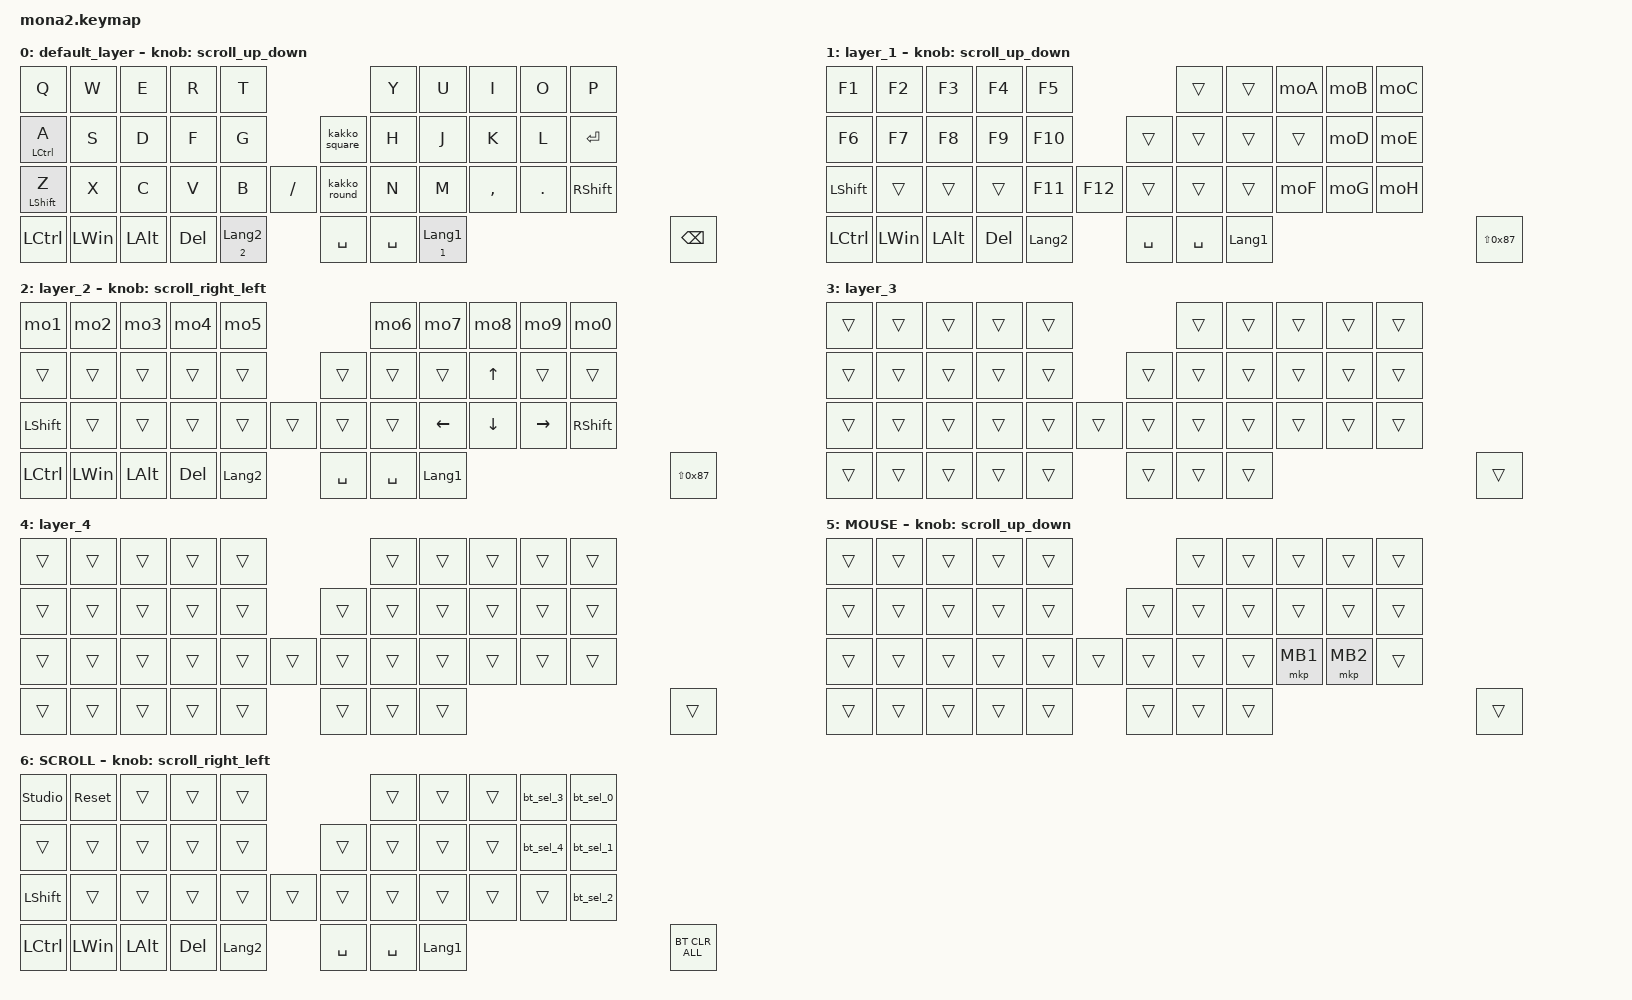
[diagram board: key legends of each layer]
#include <input/processors.dtsi>
#include <dt-bindings/zmk/input_transform.h>
#include <zephyr/dt-bindings/input/input-event-codes.h>
#include <behaviors.dtsi>
#include <dt-bindings/zmk/bt.h>
#include <dt-bindings/zmk/keys.h>
#include <dt-bindings/zmk/pointing.h>

#define ZMK_POINTING_DEFAULT_SCRL_VAL 100
#define MOUSE 5
#define SCROLL 6
#define JP_DQUOTE       AT                // "
#define JP_AMPERSAND    CARET             // &
#define JP_QUOTE        AMPERSAND         // '
#define JP_EQUAL        UNDER             // =
#define JP_CARET        EQUAL             // ^
#define JP_YEN          0x89              // ¥
#define JP_PLUS         COLON             // +
#define JP_TILDE        PLUS              // ~
#define JP_PIPE         LS(0x89)          // |
#define JP_AT           LEFT_BRACKET      // @
#define JP_COLON        SINGLE_QUOTE      // :
#define JP_ASTERISK     DOUBLE_QUOTES     // *
#define JP_BACKQUOTE    LEFT_BRACE        // `
#define JP_UNDERSCORE   LS(0x87)          // _
#define JP_LBRACKET     RIGHT_BRACKET     // [
#define JP_RBRACKET     BACKSLASH         // ]
#define JP_LPAREN       ASTERISK          // (
#define JP_RPAREN       LEFT_PARENTHESIS  // )
#define JP_LBRACE       RIGHT_BRACE       // {
#define JP_RBRACE       PIPE              // }
#define JP_KANA         LANGUAGE_1        // かな
#define JP_EISU         LANGUAGE_2        // 英数
#define JP_HANZEN       GRAVE             // 半角/全角
#define JP_BSLH         INT1              // (backslash)

&mt {
    flavor = "balanced";
    quick-tap-ms = <175>;
};

&lt {
    quick-tap-ms = <300>;
    flavor = "balanced";
};

/ {
    combos {
        compatible = "zmk,combos";

        Escape {
            bindings = <&kp ESCAPE>;
            key-positions = <39 38>;
        };

        tab {
            bindings = <&kp TAB>;
            key-positions = <11 10>;
        };

        // 数字キー（左手）

        Num1 {
            bindings = <&num1_reset>;
            key-positions = <0 1>;  // Q+W
        };

        Num2 {
            bindings = <&num2_reset>;
            key-positions = <1 2>;  // W+E
        };

        Num3 {
            bindings = <&num3_reset>;
            key-positions = <2 3>;  // E+R
        };

        Num4 {
            bindings = <&num4_reset>;
            key-positions = <3 4>;  // R+T
        };

        Num5 {
            bindings = <&num5_reset>;
            key-positions = <13 14>;  // F+G
        };

        // 数字キー（右手）

        Num6 {
            bindings = <&num6_reset>;
            key-positions = <5 6>;  // Y+U
        };

        Num7 {
            bindings = <&num7_reset>;
            key-positions = <6 7>;  // U+I
        };

        Num8 {
            bindings = <&num8_reset>;
            key-positions = <7 8>;  // I+O
        };

        Num9 {
            bindings = <&num9_reset>;
            key-positions = <8 9>;  // O+P
        };

        Num0 {
            bindings = <&num0_reset>;
            key-positions = <19 20>;  // L+Enter
        };

        Layer_6 {
            bindings = <&mo 6>;
            key-positions = <21 22>;  // Z+X
        };

        PrtScr {
            bindings = <&kp PRINTSCREEN>;
            key-positions = <0 9>;
        };
    };

    macros {
        to_layer_0: to_layer_0 {
            compatible = "zmk,behavior-macro-one-param";
            #binding-cells = <1>;
            bindings = <&to 0 &macro_param_1to1 &kp MACRO_PLACEHOLDER>;
            label = "TO_LAYER_0";
        };

        // 英数/かなキーをホールドして layer_2/layer_1 に入る瞬間に一回だけ
        // MOUSE レイヤー(5)を強制解除する。以降の連続数字入力は
        // このマクロを再実行しないので壊さない。
        mo_cancel_mouse: mo_cancel_mouse {
            compatible = "zmk,behavior-macro-one-param";
            #binding-cells = <1>;
            bindings =
                <&macro_press &to 0>,
                <&macro_param_1to1 &macro_press &mo MACRO_PLACEHOLDER>,
                <&macro_pause_for_release>,
                <&macro_param_1to1 &macro_release &mo MACRO_PLACEHOLDER>;
            label = "MO_CANCEL_MOUSE";
        };

        // 数字コンボ (mo1-mo9, mo0) はコンボ経由のため AML の
        // 「他キー押下で自動解除」の対象外になる。&to 0 を明示的に挟んで
        // MOUSE レイヤーを確実に解除してから数字/記号を出力する。
        num1_reset: num1_reset {
            compatible = "zmk,behavior-macro";
            #binding-cells = <0>;
            bindings = <&to 0 &mo1>;
            label = "NUM1_RESET";
        };

        num2_reset: num2_reset {
            compatible = "zmk,behavior-macro";
            #binding-cells = <0>;
            bindings = <&to 0 &mo2>;
            label = "NUM2_RESET";
        };

        num3_reset: num3_reset {
            compatible = "zmk,behavior-macro";
            #binding-cells = <0>;
            bindings = <&to 0 &mo3>;
            label = "NUM3_RESET";
        };

        num4_reset: num4_reset {
            compatible = "zmk,behavior-macro";
            #binding-cells = <0>;
            bindings = <&to 0 &mo4>;
            label = "NUM4_RESET";
        };

        num5_reset: num5_reset {
            compatible = "zmk,behavior-macro";
            #binding-cells = <0>;
            bindings = <&to 0 &mo5>;
            label = "NUM5_RESET";
        };

        num6_reset: num6_reset {
            compatible = "zmk,behavior-macro";
            #binding-cells = <0>;
            bindings = <&to 0 &mo6>;
            label = "NUM6_RESET";
        };

        num7_reset: num7_reset {
            compatible = "zmk,behavior-macro";
            #binding-cells = <0>;
            bindings = <&to 0 &mo7>;
            label = "NUM7_RESET";
        };

        num8_reset: num8_reset {
            compatible = "zmk,behavior-macro";
            #binding-cells = <0>;
            bindings = <&to 0 &mo8>;
            label = "NUM8_RESET";
        };

        num9_reset: num9_reset {
            compatible = "zmk,behavior-macro";
            #binding-cells = <0>;
            bindings = <&to 0 &mo9>;
            label = "NUM9_RESET";
        };

        num0_reset: num0_reset {
            compatible = "zmk,behavior-macro";
            #binding-cells = <0>;
            bindings = <&to 0 &mo0>;
            label = "NUM0_RESET";
        };

        bt_sel_0: bt_sel_0 {
            compatible = "zmk,behavior-macro";
            #binding-cells = <0>;
            bindings = <&bt BT_SEL 0 &bt BT_DISC 1 &bt BT_DISC 2 &bt BT_DISC 3 &bt BT_DISC 4>;
            label = "BT_SEL_0";
        };

        bt_sel_1: bt_sel_1 {
            compatible = "zmk,behavior-macro";
            #binding-cells = <0>;
            bindings = <&bt BT_SEL 1 &bt BT_DISC 0 &bt BT_DISC 2 &bt BT_DISC 3 &bt BT_DISC 4>;
            label = "BT_SEL_1";
        };

        bt_sel_2: bt_sel_2 {
            compatible = "zmk,behavior-macro";
            #binding-cells = <0>;
            bindings = <&bt BT_SEL 2 &bt BT_DISC 0 &bt BT_DISC 1 &bt BT_DISC 3 &bt BT_DISC 4>;
            label = "BT_SEL_2";
        };

        bt_sel_3: bt_sel_3 {
            compatible = "zmk,behavior-macro";
            #binding-cells = <0>;
            bindings = <&bt BT_SEL 3 &bt BT_DISC 0 &bt BT_DISC 1 &bt BT_DISC 2 &bt BT_DISC 4>;
            label = "BT_SEL_3";
        };

        bt_sel_4: bt_sel_4 {
            compatible = "zmk,behavior-macro";
            #binding-cells = <0>;
            bindings = <&bt BT_SEL 4 &bt BT_DISC 0 &bt BT_DISC 1 &bt BT_DISC 2 &bt BT_DISC 3>;
            label = "BT_SEL_4";
        };

        kakko_round: kakko_round {
            compatible = "zmk,behavior-macro";
            #binding-cells = <0>;
            bindings = <&kp LS(N8) &kp LS(N9) &kp LEFT_ARROW>;
            label = "KAKKO_ROUND";
        };

        kakko_square: kakko_square {
            compatible = "zmk,behavior-macro";
            #binding-cells = <0>;
            bindings = <&kp JP_LBRACKET &kp JP_RBRACKET &kp LEFT_ARROW>;
            label = "KAKKO_SQUARE";
        };
    };

    behaviors {
        ctrl_a: ctrl_a {
            compatible = "zmk,behavior-hold-tap";
            label = "CTRL_A";
            #binding-cells = <2>;
            tapping-term-ms = <250>;
            quick-tap-ms = <200>;
            flavor = "tap-preferred";
            bindings = <&kp>, <&kp>;
        };

        lt_to_layer_0: lt_to_layer_0 {
            compatible = "zmk,behavior-hold-tap";
            label = "LAYER_TAP_TO_0";
            bindings = <&mo>, <&to_layer_0>;

            #binding-cells = <2>;
            tapping-term-ms = <200>;
        };

        // 英数/かなキー用: ホールドで layer_2/layer_1 に入る際に MOUSE レイヤーを
        // 自動解除してから入る。タップは従来通り to_layer_0 でリセット。
        lt_cancel_mouse: lt_cancel_mouse {
            compatible = "zmk,behavior-hold-tap";
            label = "LAYER_TAP_CANCEL_MOUSE";
            bindings = <&mo_cancel_mouse>, <&to_layer_0>;

            #binding-cells = <2>;
            tapping-term-ms = <200>;
        };

        scroll_up_down: mouse_wheel_up_down {
            compatible = "zmk,behavior-sensor-rotate";
            #sensor-binding-cells = <0>;
            bindings = <&msc SCRL_UP>, <&msc SCRL_DOWN>;

            tap-ms = <20>;
        };

        scroll_right_left: mouse_wheel_right_left {
            compatible = "zmk,behavior-sensor-rotate";
            #sensor-binding-cells = <0>;
            bindings = <&msc SCRL_LEFT>, <&msc SCRL_RIGHT>;

            tap-ms = <20>;
        };

        mo1: mo1 {
            compatible = "zmk,behavior-mod-morph";
            #binding-cells = <0>;
            bindings = <&kp NUMBER_1>, <&kp EXCLAMATION>;

            mods = <(MOD_LSFT|MOD_RSFT)>;
        };

        mo2: mo2 {
            compatible = "zmk,behavior-mod-morph";
            #binding-cells = <0>;
            bindings = <&kp NUMBER_2>, <&kp AT>;

            mods = <(MOD_LSFT|MOD_RSFT)>;
        };

        mo3: mo3 {
            compatible = "zmk,behavior-mod-morph";
            #binding-cells = <0>;
            bindings = <&kp NUMBER_3>, <&kp POUND>;

            mods = <(MOD_LSFT|MOD_RSFT)>;
        };

        mo4: mo4 {
            compatible = "zmk,behavior-mod-morph";
            #binding-cells = <0>;
            bindings = <&kp NUMBER_4>, <&kp DOLLAR>;

            mods = <(MOD_LSFT|MOD_RSFT)>;
        };

        mo5: mo5 {
            compatible = "zmk,behavior-mod-morph";
            #binding-cells = <0>;
            bindings = <&kp NUMBER_5>, <&kp PERCENT>;

            mods = <(MOD_LSFT|MOD_RSFT)>;
        };

        mo6: mo6 {
            compatible = "zmk,behavior-mod-morph";
            #binding-cells = <0>;
            bindings = <&kp NUMBER_6>, <&kp CARET>;

            mods = <(MOD_LSFT|MOD_RSFT)>;
        };

        mo7: mo7 {
            compatible = "zmk,behavior-mod-morph";
            #binding-cells = <0>;
            bindings = <&kp NUMBER_7>, <&kp AMPERSAND>;

            mods = <(MOD_LSFT|MOD_RSFT)>;
        };

        mo8: mo8 {
            compatible = "zmk,behavior-mod-morph";
            #binding-cells = <0>;
            bindings = <&kp NUMBER_8>, <&kp ASTERISK>;

            mods = <(MOD_LSFT|MOD_RSFT)>;
        };

        mo9: mo9 {
            compatible = "zmk,behavior-mod-morph";
            #binding-cells = <0>;
            bindings = <&kp NUMBER_9>, <&kp LEFT_PARENTHESIS>;

            mods = <(MOD_LSFT|MOD_RSFT)>;
        };

        mo0: mo0 {
            compatible = "zmk,behavior-mod-morph";
            #binding-cells = <0>;
            bindings = <&kp NUMBER_0>, <&kp LS(NUMBER_9)>;

            mods = <(MOD_LSFT|MOD_RSFT)>;
        };

        moA: moA {
            compatible = "zmk,behavior-mod-morph";
            #binding-cells = <0>;
            bindings = <&kp MINUS>, <&kp UNDERSCORE>;

            mods = <(MOD_LSFT|MOD_RSFT)>;
        };

        moB: moB {
            compatible = "zmk,behavior-mod-morph";
            #binding-cells = <0>;
            bindings = <&kp EQUAL>, <&kp PLUS>;

            mods = <(MOD_LSFT|MOD_RSFT)>;
        };

        moC: moC {
            compatible = "zmk,behavior-mod-morph";
            #binding-cells = <0>;
            bindings = <&kp INT3>, <&kp JP_PIPE>;

            mods = <(MOD_LSFT|MOD_RSFT)>;
        };

        moD: moD {
            compatible = "zmk,behavior-mod-morph";
            #binding-cells = <0>;
            bindings = <&kp LEFT_BRACKET>, <&kp LEFT_BRACE>;

            mods = <(MOD_LSFT|MOD_RSFT)>;
        };

        moE: moE {
            compatible = "zmk,behavior-mod-morph";
            #binding-cells = <0>;
            bindings = <&kp RIGHT_BRACKET>, <&kp RIGHT_BRACE>;

            mods = <(MOD_LSFT|MOD_RSFT)>;
        };

        moF: moF {
            compatible = "zmk,behavior-mod-morph";
            #binding-cells = <0>;
            bindings = <&kp SEMICOLON>, <&kp JP_PLUS>;

            mods = <(MOD_LSFT|MOD_RSFT)>;
        };

        moG: moG {
            compatible = "zmk,behavior-mod-morph";
            #binding-cells = <0>;
            bindings = <&kp APOSTROPHE>, <&kp DOUBLE_QUOTES>;

            mods = <(MOD_LSFT|MOD_RSFT)>;
        };

        moH: moH {
            compatible = "zmk,behavior-mod-morph";
            #binding-cells = <0>;
            bindings = <&kp BACKSLASH>, <&kp TILDE>;

            mods = <(MOD_LSFT|MOD_RSFT)>;
        };
    };

    keymap {
        compatible = "zmk,keymap";

        default_layer {
            // -----------------------------------------------------------------------------------
            // |  Q  |  W  |  E  |  R  |  T  |                      |  Y  |  U  |  I  |  O  |  P  |
            // |A/CTL|  S  |  D  |  F  |  G  |                | ,/< |  H  |  J  |  K  |  L  | ENT |
            // |Z/SFT|  X  |  C  |  V  |  B  | //? |          | ./> |  N  |  M  | MB1 | MB2 | SFT |
            // | CTRL| WIN | ALT | DEL |英数L2|SPACE|          |SPACE|かなL1|                | BKS |

            bindings = <
&kp Q             &kp W         &kp E         &kp R       &kp T                                      &kp Y          &kp U  &kp I       &kp O      &kp P
&ctrl_a LCTRL A   &kp S         &kp D         &kp F       &kp G                       &kakko_square  &kp H          &kp J  &kp K       &kp L      &kp ENTER
&mt LEFT_SHIFT Z  &kp X         &kp C         &kp V       &kp B          &kp SLASH    &kakko_round   &kp N          &kp M  &kp COMMA   &kp PERIOD  &kp RIGHT_SHIFT
&kp LCTRL         &kp LEFT_WIN  &kp LEFT_ALT  &kp DELETE  &lt_cancel_mouse 2 JP_EISU  &kp SPACE    &kp SPACE      &lt_cancel_mouse 1 JP_KANA                                &kp BACKSPACE
            >;

            sensor-bindings = <&scroll_up_down>;
        };

        layer_1 {
            // -----------------------------------------------------------------------------------
            // | F1  | F2  | F3  | F4  | F5  |                      |trans|trans| -/_ | =/+ |¥/| |
            // | F6  | F7  | F8  | F9  | F10 |                |trans|trans|trans|trans| @/` | [/{ |
            // |SHIFT|trans|trans|trans| F11 | F12 |          |trans|trans|trans| ;/+ | :/' | ]/} |
            // | CTRL| WIN | ALT | DEL | 英数 |SPACE|          |SPACE| かな |                |  _  |

            bindings = <
&kp F1          &kp F2        &kp F3        &kp F4      &kp F5                               &trans       &trans  &moA    &moB  &moC
&kp F6          &kp F7        &kp F8        &kp F9      &kp F10                   &trans     &trans       &trans  &trans  &moD  &moE
&kp LEFT_SHIFT  &trans        &trans        &trans      &kp F11      &kp F12      &trans     &trans       &trans  &moF    &moG  &moH
&kp LCTRL       &kp LEFT_WIN  &kp LEFT_ALT  &kp DELETE  &kp JP_EISU  &kp SPACE    &kp SPACE  &kp JP_KANA                        &kp JP_UNDERSCORE
            >;

            sensor-bindings = <&scroll_up_down>;
        };

        layer_2 {
            // -----------------------------------------------------------------------------------
            // | 1/! | 2/" | 3/# | 4/$ | 5/% |                      | 6/& | 7/' | 8/( | 9/) | 0/) |
            // |trans|trans|trans|trans|trans|                |trans|trans|trans|  ↑  |trans|trans|
            // |SHIFT|trans|trans|trans|trans|trans|          |trans|trans|  ←  |  ↓  |  →  |SHIFT|
            // | CTRL| WIN | ALT | DEL | 英数 |SPACE|          |SPACE| かな |                |  _  |

            bindings = <
&mo1            &mo2          &mo3          &mo4        &mo5                                 &mo6         &mo7            &mo8            &mo9             &mo0
&trans          &trans        &trans        &trans      &trans                    &trans     &trans       &trans          &kp UP_ARROW    &trans           &trans
&kp LEFT_SHIFT  &trans        &trans        &trans      &trans       &trans       &trans     &trans       &kp LEFT_ARROW  &kp DOWN_ARROW  &kp RIGHT_ARROW  &kp RIGHT_SHIFT
&kp LCTRL       &kp LEFT_WIN  &kp LEFT_ALT  &kp DELETE  &kp JP_EISU  &kp SPACE    &kp SPACE  &kp JP_KANA                                                   &kp JP_UNDERSCORE
            >;

            sensor-bindings = <&scroll_right_left>;
        };

        layer_3 {
            // -----------------------------------------------------------------------------------
            // |trans|trans|trans|trans|trans|                      |trans|trans|trans|trans|trans|
            // |trans|trans|trans|trans|trans|                |trans|trans|trans|trans|trans|trans|
            // |trans|trans|trans|trans|trans|trans|          |trans|trans|trans|trans|trans|trans|
            // |trans|trans|trans|trans|trans|trans|          |trans|trans|                |trans|

            bindings = <
&trans  &trans  &trans  &trans  &trans                    &trans  &trans  &trans  &trans  &trans
&trans  &trans  &trans  &trans  &trans            &trans  &trans  &trans  &trans  &trans  &trans
&trans  &trans  &trans  &trans  &trans  &trans    &trans  &trans  &trans  &trans  &trans  &trans
&trans  &trans  &trans  &trans  &trans  &trans    &trans  &trans                          &trans
            >;
        };

        layer_4 {
            // -----------------------------------------------------------------------------------
            // |trans|trans|trans|trans|trans|                      |trans|trans|trans|trans|trans|
            // |trans|trans|trans|trans|trans|                |trans|trans|trans|trans|trans|trans|
            // |trans|trans|trans|trans|trans|trans|          |trans|trans|trans|trans|trans|trans|
            // |trans|trans|trans|trans|trans|trans|          |trans|trans|                |trans|

            bindings = <
&trans  &trans  &trans  &trans  &trans                    &trans  &trans  &trans  &trans  &trans
&trans  &trans  &trans  &trans  &trans            &trans  &trans  &trans  &trans  &trans  &trans
&trans  &trans  &trans  &trans  &trans  &trans    &trans  &trans  &trans  &trans  &trans  &trans
&trans  &trans  &trans  &trans  &trans  &trans    &trans  &trans                          &trans
            >;
        };

        MOUSE {
            // -----------------------------------------------------------------------------------
            // |trans|trans|trans|trans|trans|                      |trans|trans|trans|trans|trans|
            // |trans|trans|trans|trans|trans|                |trans|trans|trans|trans|trans|trans|
            // |trans|trans|trans|trans|trans|trans|          |trans|trans|trans| MB1 | MB2 |trans|
            // |trans|trans|trans|trans|trans|trans|          |trans|trans|                |trans|

            bindings = <
&trans  &trans  &trans  &trans  &trans                    &trans  &trans  &trans    &trans    &trans
&trans  &trans  &trans  &trans  &trans            &trans  &trans  &trans  &trans    &trans    &trans
&trans  &trans  &trans  &trans  &trans  &trans    &trans  &trans  &trans  &mkp MB1  &mkp MB2  &trans
&trans  &trans  &trans  &trans  &trans  &trans    &trans  &trans                              &trans
            >;

            sensor-bindings = <&scroll_up_down>;
        };

        SCROLL {
            // -----------------------------------------------------------------------------------
            // |STUD |RESET|trans|trans|trans|                      |trans|trans|trans| BT3 | BT0 |
            // |trans|trans|trans|trans|trans|                |trans|trans|trans|trans| BT4 | BT1 |
            // |SHIFT|trans|trans|trans|trans|trans|          |trans|trans|trans|trans|trans| BT2 |
            // | CTRL| WIN | ALT | DEL | 英数 |SPACE|          |SPACE| かな |                |BTCLR|

            bindings = <
&studio_unlock  &sys_reset    &trans        &trans      &trans                               &trans       &trans  &trans  &bt_sel_3  &bt_sel_0
&trans          &trans        &trans        &trans      &trans                    &trans     &trans       &trans  &trans  &bt_sel_4  &bt_sel_1
&kp LEFT_SHIFT  &trans        &trans        &trans      &trans       &trans       &trans     &trans       &trans  &trans  &trans        &bt_sel_2
&kp LCTRL       &kp LEFT_WIN  &kp LEFT_ALT  &kp DELETE  &kp JP_EISU  &kp SPACE    &kp SPACE  &kp JP_KANA                                &bt BT_CLR_ALL
            >;

            sensor-bindings = <&scroll_right_left>;
        };
    };
};
